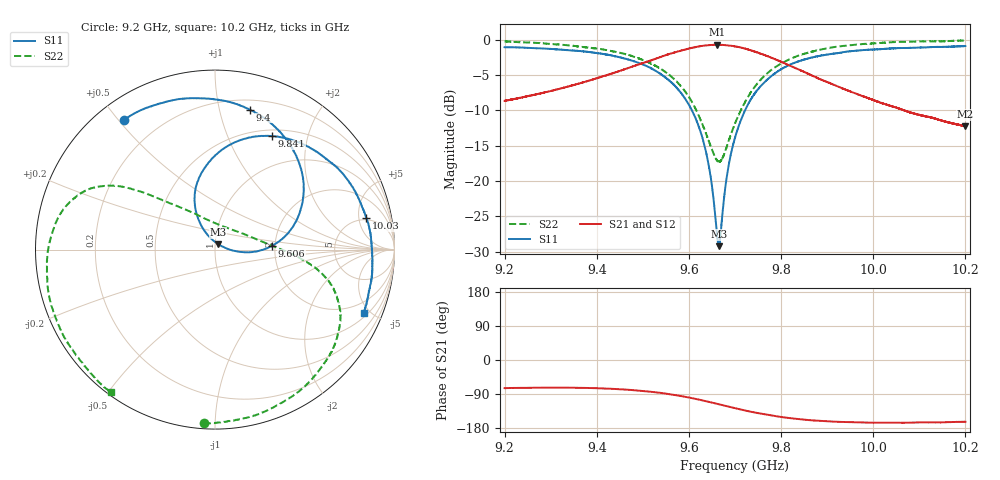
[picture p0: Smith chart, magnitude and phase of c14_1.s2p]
!Agilent Technologies,N5242A,MY51221714,A.09.90.19
!Agilent N5242A: A.09.90.19
!Date: Saturday, December 30, 2023 10:50:03
!Correction: S11(Full 2 Port(1,2))
!S21(Full 2 Port(1,2))
!S12(Full 2 Port(1,2))
!S22(Full 2 Port(1,2))
!S2P File: Measurements: S11, S21, S12, S22:
# Hz S  dB  R 50
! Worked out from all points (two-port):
!   16001 points, 9.2 GHz to 10.2 GHz, reference 50 ohm
!   highest |S21| = -0.73 dB at 9.661 GHz (marker M1); lowest = -12.3 dB at 10.2 GHz (marker M2)
!   |S21| within 3 dB of the highest: 9.481 GHz to 9.821 GHz (339.3 MHz wide, 3.52 % of centre)
!   lowest |S11| = -29.2 dB at 9.665 GHz (marker M3), VSWR 1.07, Z = 51.7 + j3.1 ohm
!   |S11| at or under -10 dB: 9.606 GHz to 9.722 GHz (115.7 MHz wide, 1.2 % of centre)
!   |S22| runs from -17.3 to -0.1 dB; largest |S21 - S12| = 0.015
!   S11 on the Smith chart (normalised r, x): 9.2 GHz: 0.08, +0.52; 9.4 GHz: 0.28, +1.24; 9.606 GHz: 1.93, +0.09; 9.841 GHz: 0.58, +1.46; 10.03 GHz: 4.72, +6.32; 10.2 GHz: 1.23, -4.57
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9.2e9  -1.08 125.1  -8.67 -74.2  -8.64 -75.0  -0.26 -93.6
9.27525e9  -1.24 107.7  -7.65 -73.1  -7.63 -73.7  -0.50 -73.2
9.366688e9  -1.65 85.0  -6.13 -73.5  -6.10 -74.3  -1.02 -49.6
9.399625e9  -1.90 76.0  -5.47 -74.5  -5.45 -75.3  -1.28 -41.5
9.466688e9  -2.78 55.9  -4.05 -78.4  -4.05 -79.2  -2.15 -26.8
9.533375e9  -4.65 32.6  -2.58 -86.1  -2.56 -86.7  -3.92 -14.3
9.605625e9  -9.90 3.8  -1.18 -100.4  -1.17 -101.2  -8.70 0.4
9.639312e9  -16.56 -5.6  -0.82 -109.4  -0.81 -110.1  -13.71 20.7
9.661e9  -27.65 27.0  -0.73 -115.6  -0.73 -116.4  -17.04 57.7
9.665e9  -29.21 59.7  -0.74 -116.8  -0.73 -117.5  -17.26 67.7
9.684062e9  -18.62 119.1  -0.82 -122.4  -0.80 -123.2  -14.75 108.3
9.7e9  -13.91 118.1  -0.96 -127.1  -0.93 -127.8  -11.87 123.4
9.750625e9  -6.97 98.4  -1.88 -140.3  -1.85 -141.2  -6.03 141.1
9.797125e9  -4.31 79.4  -3.05 -149.8  -3.06 -150.7  -3.50 147.8
9.841e9  -3.02 63.3  -4.32 -156.3  -4.30 -157.1  -2.19 154.2
9.866688e9  -2.53 54.8  -5.07 -159.3  -5.06 -159.9  -1.71 158.3
9.950062e9  -1.66 31.3  -7.35 -164.2  -7.33 -164.9  -0.80 174.3
1.003106e10  -1.31 11.7  -9.26 -165.5  -9.25 -166.4  -0.41 -167.8
1.003338e10  -1.28 11.1  -9.30 -165.5  -9.28 -166.3  -0.40 -167.2
1.011112e10  -1.11 -5.3  -10.81 -164.4  -10.80 -165.2  -0.24 -148.6
1.019925e10  -0.92 -23.0  -12.27 -163.0  -12.25 -163.9  -0.14 -126.3
1.02e10  -0.92 -23.1  -12.25 -163.0  -12.25 -163.9  -0.14 -126.2
